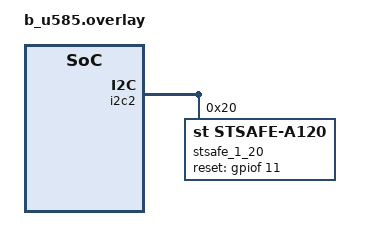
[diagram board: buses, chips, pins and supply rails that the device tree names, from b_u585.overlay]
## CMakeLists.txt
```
# Copyright (c) 2026 CATIE
# SPDX-License-Identifier: Apache-2.0

cmake_minimum_required(VERSION 3.13.1)
find_package(Zephyr REQUIRED HINTS $ENV{ZEPHYR_BASE})

project(zephyr_zest_security_secureelement_tester LANGUAGES C)

file(GLOB_RECURSE app_sources src/*.c)
target_sources(app PRIVATE ${app_sources})
```

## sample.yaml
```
sample:
  name: Zephyr STSAFE-A1xx Tester
  description: Sample application for testing STSAFE-A1xx secure element with Zephyr
tests:
  sample.tester:
    integration_platforms:
      - zest_core_nrf5340/nrf5340/cpuapp/ns
    extra_args:
      # - SHIELD=zest_security_secureelement
      - DTC_OVERLAY_FILE="sixtron_bus.overlay"
    depends_on: i2c
```

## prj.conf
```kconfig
# Copyright (c) 2026 CATIE
# SPDX-License-Identifier: Apache-2.0

CONFIG_LOG=y
CONFIG_LOG_DEFAULT_LEVEL=3
CONFIG_LOG_BUFFER_SIZE=4096

CONFIG_GPIO=y
CONFIG_I2C=y

# Upgrade the Main Stack to handle STSafe-A1xx structures
CONFIG_MAIN_STACK_SIZE=4096

# Add the STSELib
# CONFIG_STSAFE_DRIVER=y
# CONFIG_STSAFE_LOG_LEVEL_WRN=y
CONFIG_STSE_FRAME_DEBUG=y
```

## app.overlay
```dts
/*
 * Copyright (c) 2026 CATIE
 *
 * SPDX-License-Identifier: Apache-2.0
 */

#include <zephyr/dt-bindings/gpio/sixtron-header.h>

/ {
	zephyr,user {
		stsafereset-gpios = <&sixtron_connector DIO1 GPIO_ACTIVE_HIGH>; // R3
    	//stsafereset-gpios = <&sixtron_connector DIO6 GPIO_ACTIVE_HIGH>; // R4
        // stsafereset-gpios = <&sixtron_connector DIO11 GPIO_ACTIVE_HIGH>; // R5
	};
};

&sixtron_i2c {
	status = "okay";
	clock-frequency = <I2C_BITRATE_STANDARD>;
};
```

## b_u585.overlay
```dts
/*
 * Copyright (c) 2026 CATIE
 *
 * SPDX-License-Identifier: Apache-2.0
 */
#include <zephyr/dt-bindings/gpio/sixtron-header.h>

&i2c2 {
    status = "okay";
    stsafe_1_20: stsafe-a120@20 {
        compatible = "st,stsafe-a120";
        reg = <0x20>;
        reset-gpios = <&gpiof 11 GPIO_ACTIVE_HIGH>;
        status = "okay";
    };
};
```

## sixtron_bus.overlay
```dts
/*
 * Copyright (c) 2026 CATIE
 *
 * SPDX-License-Identifier: Apache-2.0
 */
#include <zephyr/dt-bindings/gpio/sixtron-header.h>
ZEST_SECURITY_SECUREELEMENT(1)
```

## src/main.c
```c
/*
 * Copyright (c) 2026, CATIE
 * SPDX-License-Identifier: Apache-2.0
 */

#include <zephyr/kernel.h>
#include <zephyr/logging/log.h>

LOG_MODULE_REGISTER(main);

#include <drivers/stsafe.h>

#include "helpers/command_decoder.h"

int main(void)
{
	LOG_RAW("************************************************************\n\n");
	LOG_RAW("      Zest Security Secure Element (STSafe-A1xx) Tester     \n\n");
	LOG_RAW("************************************************************\n\n");

	int ret = STSE_OK;

	const struct device *se = DEVICE_DT_GET(DT_NODELABEL(stsafe_1_20));
	if (!device_is_ready(se)) {
		LOG_ERR("STSAFE device not ready");
		return -ENODEV;
	}

	LOG_INF("STSAFE device is ready: %s", se->name);
	stse_Handle_t *stse_handle = stsafe_get_handle(se);
	if (!stse_handle) {
		LOG_ERR("Could not acquire STSAFE handle");
		return -EBUSY;
	}

	uint8_t echo[8] = {'t', 'e', 's', 't', 't', 'e', 's', 't'};
	uint8_t echo_reply[sizeof(echo)] = {0};
	ret = stsafea_echo(stse_handle, echo, echo_reply, sizeof(echo_reply));

	if (ret != STSE_OK) {
		LOG_ERR("stsafea_echo failed: 0x%x. Function is probably locked", ret);
	}

	LOG_HEXDUMP_INF(echo_reply, sizeof(echo_reply), "Echo reply from STSAFE:");

	print_perso_info(stse_handle);

	if (stse_handle->device_type == STSAFE_A100) {
		stsafea_host_key_slot_t host_key_slot = {0};
		ret = stsafea_query_host_key(stse_handle, &host_key_slot);
		if (ret != STSE_OK) {
			LOG_ERR("Failed to get host key slot: %d", ret);
			return -1;
		}
		LOG_RAW("Host Key Slot: \n\tPresence Flag: %d \n\tC-MAC Counter: "
			"0x%02X%02X%02X\n\n",
			host_key_slot.key_presence_flag, host_key_slot.cmac_sequence_counter[0],
			host_key_slot.cmac_sequence_counter[1],
			host_key_slot.cmac_sequence_counter[2]);
	} else if (stse_handle->device_type == STSAFE_A120) {
		stsafea_host_key_slot_v2_t host_key_slot_v2 = {0};
		ret = stsafea_query_host_key_v2(stse_handle, &host_key_slot_v2);
		if (ret != STSE_OK) {
			LOG_ERR("Failed to get host key slot v2: %d", ret);
			return -1;
		}
		LOG_RAW("Host Key Slot V2: \n\tPresence Flag: %d\n\tKey Type: %d\n\tC-MAC "
			"Counter: "
			"0x%02X%02X%02X%02X\n\n",
			host_key_slot_v2.key_presence_flag, host_key_slot_v2.key_type,
			host_key_slot_v2.cmac_sequence_counter[0],
			host_key_slot_v2.cmac_sequence_counter[1],
			host_key_slot_v2.cmac_sequence_counter[2],
			host_key_slot_v2.cmac_sequence_counter[3]);
	}

	return 0;
}
```
